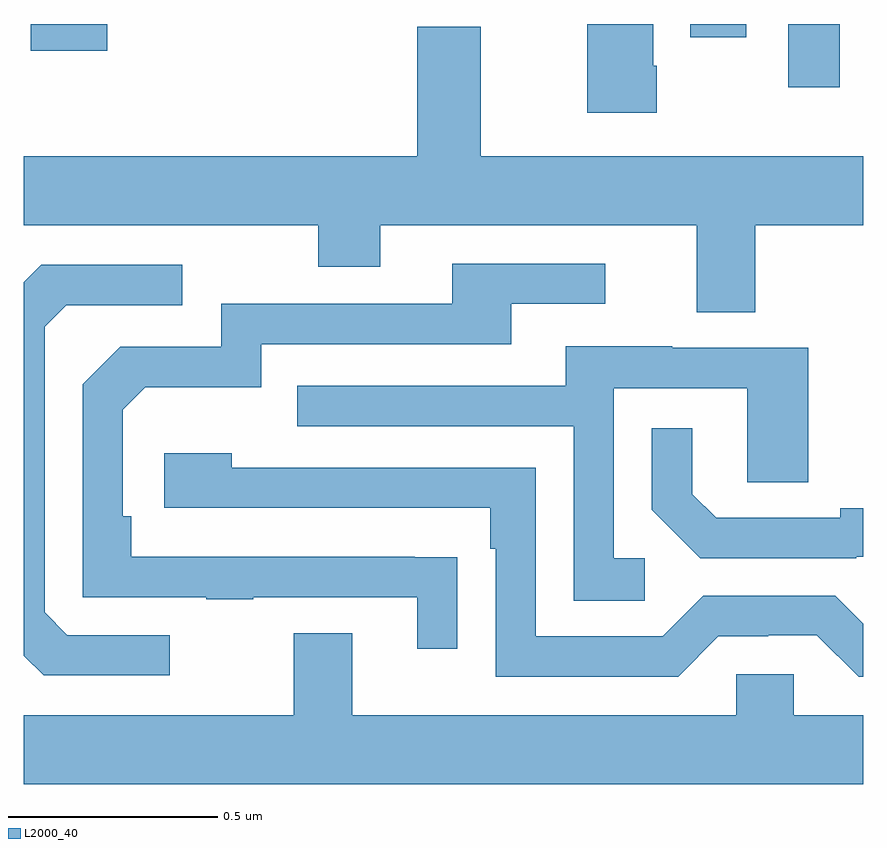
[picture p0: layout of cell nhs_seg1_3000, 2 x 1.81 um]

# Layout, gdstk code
import gdstk
lib = gdstk.Library(unit=1e-6, precision=1e-09)
def R(c, l, rs):  # rectangles x0, y0, x1, y1
    for r in rs: c.add(gdstk.rectangle(r[:2], r[2:], *l))
def P(c, l, *ps):  # polygons
    for p in ps: c.add(gdstk.Polygon(p, *l))
L2000_40 = (2000, 40)

nhs_seg1_3000 = lib.new_cell('nhs_seg1_3000')
R(nhs_seg1_3000, L2000_40, [(149.822,564.048,149.944,564.199), (148.016,564.135,148.199,564.199), (149.588,564.168,149.722,564.199)])
P(nhs_seg1_3000, L2000_40, [(149.508,564.1),(149.5,564.1),(149.5,564.199),(149.342,564.199),(149.342,563.988),(149.508,563.988)],
  [(149.743,563.72),(150,563.72),(150,563.884),(149.089,563.884),(149.089,564.193),(148.937,564.193),(148.937,563.884),(148,563.884),(148,563.72),(148.702,563.72),(148.702,563.621),(148.849,563.621),(148.849,563.72),(149.603,563.72),(149.603,563.512),(149.743,563.512)],
  [(149.033,562.928),(148.931,562.928),(148.931,562.929),(148.256,562.929),(148.256,563.026),(148.236,563.026),(148.236,563.28),(148.289,563.333),(148.566,563.333),(148.566,563.436),(149.161,563.436),(149.161,563.532),(149.386,563.532),(149.386,563.628),(149.021,563.628),(149.021,563.532),(148.47,563.532),(148.47,563.43),(148.23,563.43),(148.14,563.34),(148.14,562.833),(148.435,562.833),(148.435,562.828),(148.547,562.828),(148.547,562.833),(148.937,562.833),(148.937,562.71),(149.033,562.71)],
  [(148.348,562.743),(148.104,562.743),(148.05,562.797),(148.05,563.478),(148.101,563.529),(148.378,563.529),(148.378,563.625),(148.041,563.625),(148,563.584),(148,562.694),(148.047,562.647),(148.348,562.647)],
  [(149.479,562.926),(149.406,562.926),(149.406,563.331),(149.724,563.331),(149.724,563.107),(149.869,563.107),(149.869,563.427),(149.545,563.427),(149.545,563.431),(149.291,563.431),(149.291,563.337),(148.651,563.337),(148.651,563.241),(149.31,563.241),(149.31,562.825),(149.479,562.825)],
  [(149.984,562.929),(150,562.929),(150,563.045),(149.945,563.045),(149.945,563.022),(149.65,563.022),(149.593,563.079),(149.593,563.236),(149.496,563.236),(149.496,563.042),(149.612,562.926),(149.984,562.926)],
  [(150,562.77),(149.934,562.836),(149.619,562.836),(149.523,562.74),(149.22,562.74),(149.22,563.142),(148.496,563.142),(148.496,563.176),(148.335,563.176),(148.335,563.046),(149.111,563.046),(149.111,562.949),(149.124,562.949),(149.124,562.644),(149.559,562.644),(149.655,562.74),(149.774,562.74),(149.774,562.743),(149.889,562.743),(149.989,562.643),(150,562.643)],
  [(150,562.552),(149.835,562.552),(149.835,562.65),(149.697,562.65),(149.697,562.552),(148.783,562.552),(148.783,562.747),(148.643,562.747),(148.643,562.552),(148,562.552),(148,562.388),(150,562.388)])

lib.write_gds('nhs_seg1_3000.gds')
